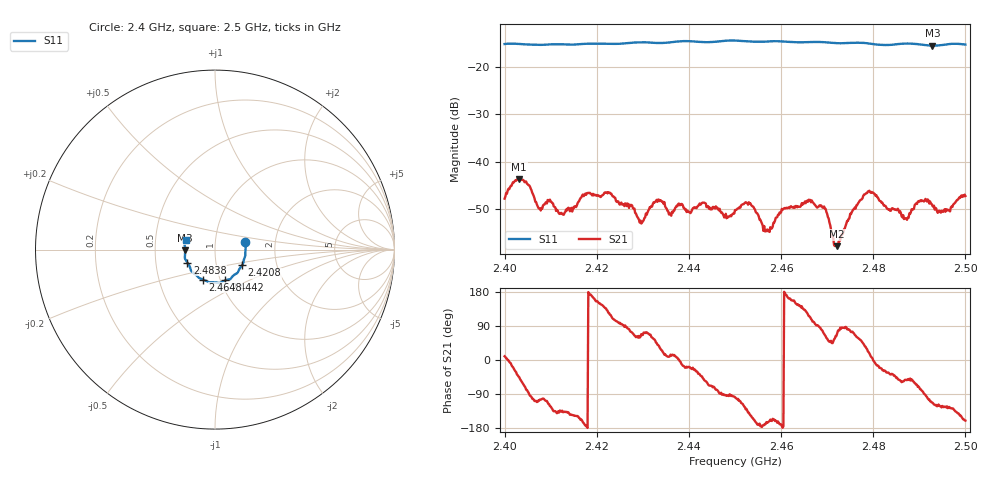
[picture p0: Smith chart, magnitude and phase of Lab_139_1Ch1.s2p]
# Hz S RI R 50
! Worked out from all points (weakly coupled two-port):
!   601 points, 2.4 GHz to 2.5 GHz, reference 50 ohm
!   highest |S21| = -43.77 dB at 2.4032 GHz (marker M1); lowest = -57.8 dB at 2.4722 GHz (marker M2)
!   lowest |S11| = -15.6 dB at 2.4928 GHz (marker M3), VSWR 1.40, Z = 35.8 - j0.354 ohm
!   |S11| at or under -10 dB: start of sweep to end of sweep
!   S12 and S22 are empty: the file has one direction only
!   S11 on the Smith chart (normalised r, x): 2.4 GHz: 1.40, +0.12; 2.4208 GHz: 1.33, -0.24; 2.4442 GHz: 1.05, -0.37; 2.4648 GHz: 0.83, -0.29; 2.4838 GHz: 0.73, -0.11; 2.5 GHz: 0.72, +0.08
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2.4e9  0.1677 0.0411  0.00401 0.000695  0 0  0 0
2.403167e9  0.1715 0.0235  0.00457 -0.0046  0 0  0 0
2.407667e9  0.1687 -0.0146  -0.000796 -0.0031  0 0  0 0
2.4125e9  0.1663 -0.0413  -0.00194 -0.00203  0 0  0 0
2.416667e9  0.1589 -0.068  -0.00387 -0.00163  0 0  0 0
2.420833e9  0.1505 -0.0871  -0.00356 0.00228  0 0  0 0
2.429667e9  0.1253 -0.1294  0.000823 0.00207  0 0  0 0
2.433333e9  0.1079 -0.1403  0.00308 0.00252  0 0  0 0
2.436e9  0.0944 -0.1531  0.00268 0.00067  0 0  0 0
2.444167e9  0.0567 -0.1713  0.00145 -0.00306  0 0  0 0
2.45e9  0.0246 -0.1864  -0.00043 -0.00306  0 0  0 0
2.4535e9  0.00488 -0.183  -0.00294 -0.00188  0 0  0 0
2.457e9  -0.0201 -0.1823  -0.00187 -0.000471  0 0  0 0
2.464833e9  -0.0683 -0.1667  -0.00259 0.00258  0 0  0 0
2.466667e9  -0.0801 -0.1626  -0.00105 0.00374  0 0  0 0
2.4695e9  -0.0914 -0.1554  0.00127 0.00294  0 0  0 0
2.472167e9  -0.1028 -0.1431  0.000428 0.00121  0 0  0 0
2.478667e9  -0.1357 -0.1118  0.0041 0.00222  0 0  0 0
2.483333e9  -0.1505 -0.0762  0.00259 -0.00172  0 0  0 0
2.483833e9  -0.1534 -0.0721  0.00239 -0.00187  0 0  0 0
2.492833e9  -0.1658 -0.00481  -0.00131 -0.00317  0 0  0 0
2.5e9  -0.1621 0.0528  -0.00407 -0.00149  0 0  0 0
